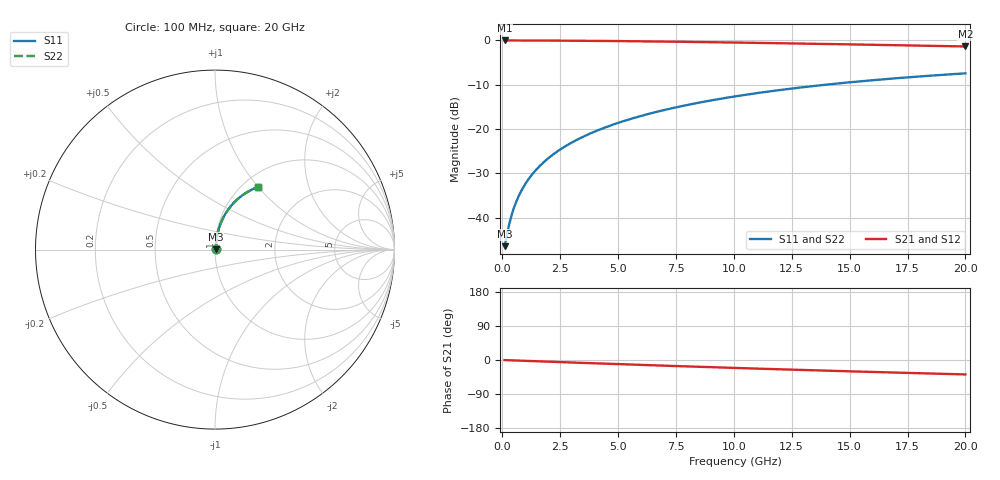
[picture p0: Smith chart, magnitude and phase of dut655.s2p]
! Touchstone file exported from HFSS 2024.1.0
!  File:  C:/UserFiles/LocalFiles/RDL_TSV_Batchsim/temp_RDL_bottom_655_1779785500.aedt
!  Generated:  04:54:09 PM May 26, 2026
!  Design:  RDL_bottom
!  Project:  temp_RDL_bottom_655_1779785500
!  Setup:  Setup1
!  Solution:  Sweep
! Variables:
!  dtsv = 10.80580581um
!  hbump = 3um
!  htsv = 83.25um
!  ldown = 474.63um
!  lrdl = 100um
!  p = 40
!  p1 = 50.73um
!  rhole = 1um
!  t = 450um
!  tdown = 2.86um
!  trdl = 3.915915916um
!  wdown = 14.81um
!  wrdl = 20um
# GHz S MA R 50.000000
! Terminal data exported
! Port[1] = RDL1_T1
! Port[2] = RDL1_T2
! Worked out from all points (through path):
!   200 points, 100 MHz to 20 GHz, reference 50 ohm
!   highest |S21| = -0.04 dB at 100 MHz (marker M1); lowest = -1.4 dB at 20 GHz (marker M2)
!   group delay of S21, straight-line fit = 5.28 ps
!   lowest |S11| = -46.4 dB at 100 MHz (marker M3), VSWR 1.01, Z = 50.4 + j0.248 ohm
!   |S11| at or under -10 dB: start of sweep to 13.98 GHz
!   |S22| runs from -46.4 to -7.4 dB; largest |S21 - S12| = 2.4e-15
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0.1  0.004797 30.9  0.9959 -0.2  0.9959 -0.2  0.004797 30.9
! Gamma 0 0 0 0
! Port Impedance 50 0 50 0
0.3  0.008492 59.5  0.9957 -0.7  0.9957 -0.7  0.008492 59.5
0.4  0.01067 65.4  0.9955 -0.9  0.9955 -0.9  0.01067 65.4
0.5  0.0129 69.2  0.9954 -1.1  0.9954 -1.1  0.0129 69.2
0.6  0.01515 71.8  0.9952 -1.4  0.9952 -1.4  0.01515 71.8
0.8  0.01968 75.1  0.9949 -1.8  0.9949 -1.8  0.01968 75.1
1.1  0.02652 77.9  0.9944 -2.5  0.9944 -2.5  0.02652 77.9
1.3  0.0311 79.1  0.9941 -2.9  0.9941 -2.9  0.0311 79.1
1.6  0.038 80.2  0.9934 -3.5  0.9934 -3.5  0.038 80.2
2.1  0.04957 81.1  0.9922 -4.6  0.9922 -4.6  0.04957 81.1
2.7  0.06352 81.4  0.9904 -5.9  0.9904 -5.9  0.06352 81.4
3.5  0.0822 81.1  0.9873 -7.7  0.9873 -7.7  0.0822 81.1
4.2  0.0986 80.5  0.9842 -9.2  0.9842 -9.2  0.0986 80.5
5  0.1174 79.6  0.98 -10.9  0.98 -10.9  0.1174 79.6
5.9  0.1384 78.4  0.9746 -12.7  0.9746 -12.7  0.1384 78.4
6.8  0.1594 77.1  0.9687 -14.6  0.9687 -14.6  0.1594 77.1
8.4  0.1962 74.6  0.957 -17.8  0.957 -17.8  0.1962 74.6
10.1  0.2344 71.8  0.9434 -21.0  0.9434 -21.0  0.2344 71.8
11.7  0.2692 69.0  0.9297 -24.0  0.9297 -24.0  0.2692 69.0
13.4  0.3045 66.1  0.9144 -27.1  0.9144 -27.1  0.3046 66.1
16.7  0.3681 60.6  0.8837 -32.8  0.8837 -32.8  0.3681 60.6
20  0.4244 55.4  0.8524 -38.1  0.8524 -38.1  0.4244 55.4
